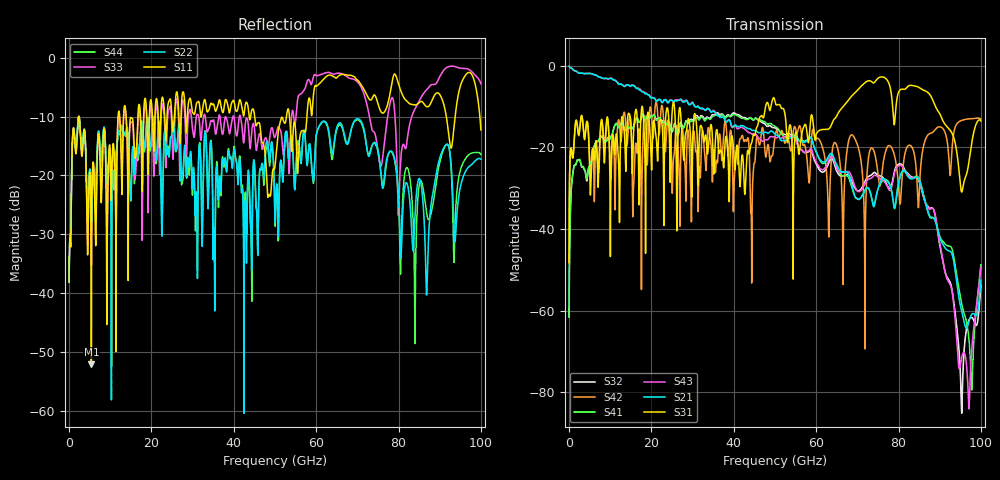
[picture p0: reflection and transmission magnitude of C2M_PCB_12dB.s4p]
! Info: Touchstone file created by Circ.  Input file=Intel_C2M_200G_1p5in_202204012_staggered.circ
# Hz S RI R 50
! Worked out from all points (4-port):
!   10000 points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, 10 MHz to 100 GHz, reference 50 ohm
!   strongest paths, dB at 10 MHz, 25.01 GHz, 50.01 GHz, 75.01 GHz, 100 GHz:
!     S31: -48.2, -11.6, -8.7, -3.1, -13.5
!     S21: -0.1, -8.5, -16.8, -30.2, -52.5
!     S43: -0.1, -8.5, -17.5, -27.3, -49.3
!     S41: -61.5, -15.8, -14.8, -30.2, -48.7
!     S42: -48.2, -29.5, -17.4, -26.4, -13.0
!     S32: -61.5, -16.2, -15.2, -26.8, -53.8
!   lowest |S11| = -52.1 dB at 5.41 GHz (marker M1), VSWR 1.00, Z = 50 + j0.248 ohm
!   |S11| at or under -10 dB: 2.422 GHz to 11.89 GHz (9.471 GHz wide, 132 % of centre); 45.07 GHz to 52.79 GHz (7.718 GHz wide, 15.8 % of centre); 53.53 GHz to 57.75 GHz (4.218 GHz wide, 7.58 % of centre) (the widest 3 of 18)
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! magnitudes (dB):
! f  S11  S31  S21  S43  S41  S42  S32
! 10 MHz  -38.1  -48.2  -0.1  -0.1  -61.5  -48.2  -61.5
! 1.08 GHz  -11.9  -21.0  -1.1  -1.1  -25.2  -21.2  -25.2
! 5.41 GHz  -52.1  -25.1  -1.9  -1.9  -23.3  -23.5  -23.4
! 84.51 GHz  -7.9  -5.1  -27.3  -27.4  -27.0  -28.7  -27.5
! 95.23 GHz  -4.3  -30.7  -59.6  -72.0  -57.7  -13.4  -82.2
! 97.02 GHz  -2.5  -24.1  -62.9  -82.9  -66.1  -13.0  -62.4
! 100 GHz  -12.3  -13.5  -52.5  -49.3  -48.7  -13.0  -53.8
